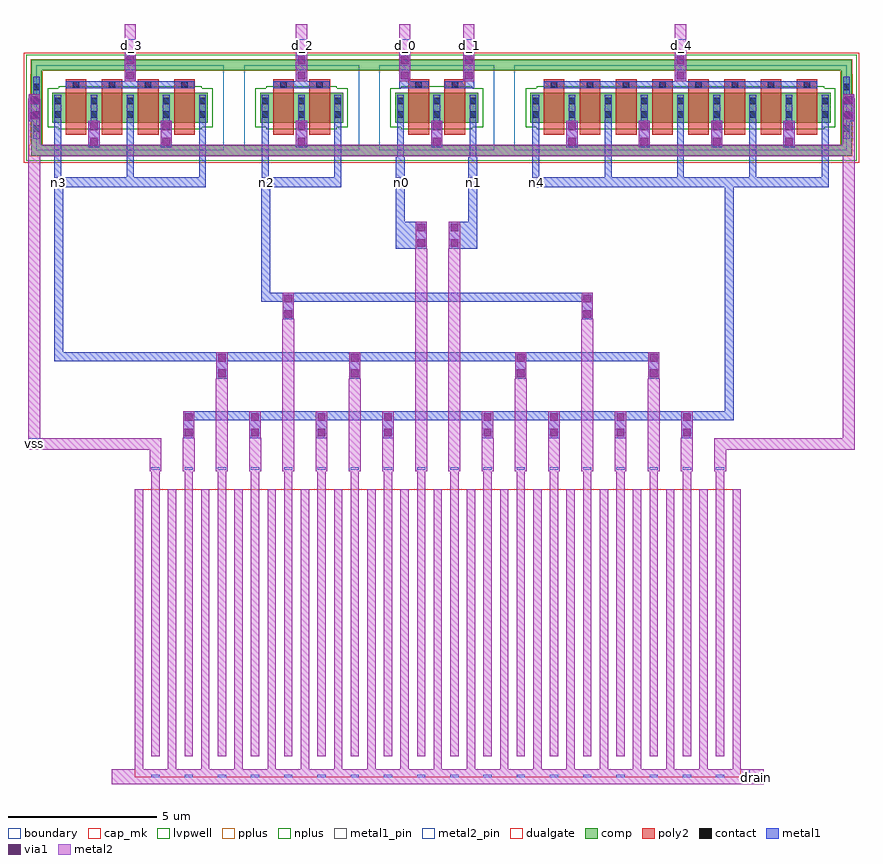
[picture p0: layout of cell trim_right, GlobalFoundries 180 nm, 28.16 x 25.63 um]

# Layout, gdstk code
import gdstk
lib = gdstk.Library(unit=1e-6, precision=1e-09)
def R(c, l, rs):  # rectangles x0, y0, x1, y1
    for r in rs: c.add(gdstk.rectangle(r[:2], r[2:], *l))
def A(c, l, x, y, w, h, nx, ny, dx, dy):  # array of equal rectangles
    R(c, l, [(x+i*dx, y+j*dy, x+i*dx+w, y+j*dy+h) for i in range(nx) for j in range(ny)])
boundary = (0, 0)
comp = (22, 0)
poly2 = (30, 0)
pplus = (31, 0)
nplus = (32, 0)
contact = (33, 0)
metal1 = (34, 0)
metal1_pin = (34, 10)
via1 = (35, 0)
metal2 = (36, 0)
metal2_pin = (36, 10)
dualgate = (55, 0)
cap_mk = (117, 5)
lvpwell = (204, 0)

trim_cap_left = lib.new_cell('trim_cap_left')
R(trim_cap_left, metal2, [(2.1,-0.72,3.5,-0.44), (2.1,-0.44,2.38,9), (2.1,-0.44,2.38,9), (3.22,-0.44,3.5,9), (3.22,-0.44,3.5,9), (2.66,0,2.94,9.75)])
R(trim_cap_left, metal2_pin, [(2.66,-0.72,2.94,-0.62), (2.66,9.65,2.94,9.75)])
R(trim_cap_left, cap_mk, [(2.1,-0.72,3.5,9)])
trim_cap_left.add(gdstk.Label('in', (2.8,9.7), layer=36, texttype=10))
trim_cap_left.add(gdstk.Label('out', (2.8,-0.67), layer=36, texttype=10))

trim_cap_array_right = lib.new_cell('trim_cap_array_right')
trim_cap_array_right.add(gdstk.Reference(trim_cap_left, (0,0)))
trim_cap_array_right.add(gdstk.Reference(trim_cap_left, (1.12,0)))
trim_cap_array_right.add(gdstk.Reference(trim_cap_left, (2.24,0)))
trim_cap_array_right.add(gdstk.Reference(trim_cap_left, (3.36,0)))
trim_cap_array_right.add(gdstk.Reference(trim_cap_left, (4.48,0)))
trim_cap_array_right.add(gdstk.Reference(trim_cap_left, (5.6,0)))
trim_cap_array_right.add(gdstk.Reference(trim_cap_left, (6.72,0)))
trim_cap_array_right.add(gdstk.Reference(trim_cap_left, (7.84,0)))
trim_cap_array_right.add(gdstk.Reference(trim_cap_left, (8.96,0)))
trim_cap_array_right.add(gdstk.Reference(trim_cap_left, (10.08,0)))
trim_cap_array_right.add(gdstk.Reference(trim_cap_left, (11.2,0)))
trim_cap_array_right.add(gdstk.Reference(trim_cap_left, (12.32,0)))
trim_cap_array_right.add(gdstk.Reference(trim_cap_left, (13.44,0)))
trim_cap_array_right.add(gdstk.Reference(trim_cap_left, (14.56,0)))
trim_cap_array_right.add(gdstk.Reference(trim_cap_left, (15.68,0)))
trim_cap_array_right.add(gdstk.Reference(trim_cap_left, (16.8,0)))
trim_cap_array_right.add(gdstk.Reference(trim_cap_left, (17.92,0)))
trim_cap_array_right.add(gdstk.Reference(trim_cap_left, (19.04,0)))

xm1_trims_right = lib.new_cell('XM1_trims_right')
R(xm1_trims_right, boundary, [(-26.33,-1.44,-23.67,1.44)])
R(xm1_trims_right, comp, [(-26.51,-1.62,-23.33,-1.26), (-25.79,-0.5,-24.21,0.5), (-26.51,1.26,-23.33,1.62)])
R(xm1_trims_right, poly2, [(-25.35,-0.915,-24.65,0.96)])
R(xm1_trims_right, pplus, [(-26.53,-1.64,-23.31,-1.24), (-26.53,1.24,-23.31,1.64)])
R(xm1_trims_right, nplus, [(-25.61,-0.73,-24.42,-0.66), (-25.95,-0.66,-24.05,0.66), (-25.61,0.66,-24.42,0.73)])
R(xm1_trims_right, contact, [(-25.72,-0.345,-25.5,-0.125), (-24.5,-0.345,-24.28,-0.125), (-25.72,0.125,-25.5,0.345), (-24.5,0.125,-24.28,0.345), (-25.11,0.67,-24.89,0.89)])
R(xm1_trims_right, metal1, [(-25.725,-0.435,-25.495,0.435), (-24.505,-0.435,-24.275,0.435), (-25.34,0.665,-24.66,0.895)])
R(xm1_trims_right, dualgate, [(-26.75,-1.86,-23.25,1.86)])
R(xm1_trims_right, lvpwell, [(-26.67,-1.78,-23.33,1.78)])
xm1_trims_right.add(gdstk.Label('S', (-25.6,0), layer=34, texttype=0))
xm1_trims_right.add(gdstk.Label('D', (-24.4,0), layer=34, texttype=0))
xm1_trims_right.add(gdstk.Label('G', (-25,0), layer=30, texttype=10))

xm2_trims_right = lib.new_cell('XM2_trims_right')
R(xm2_trims_right, boundary, [(-21.94,-1.44,-18.06,1.44)])
R(xm2_trims_right, comp, [(-22.28,-1.62,-17.72,-1.26), (-21.4,-0.5,-18.6,0.5), (-22.28,1.26,-17.72,1.62)])
R(xm2_trims_right, poly2, [(-20.96,-0.915,-20.26,0.96), (-19.74,-0.915,-19.04,0.96)])
R(xm2_trims_right, pplus, [(-22.3,-1.64,-17.7,-1.24), (-22.3,1.24,-17.7,1.64)])
R(xm2_trims_right, nplus, [(-21.19,-0.73,-18.81,-0.66), (-21.56,-0.66,-18.44,0.66), (-21.19,0.66,-18.81,0.73)])
A(xm2_trims_right, contact, -21.33, -0.345, 0.22, 0.22, 3, 2, 1.22, 0.47)
R(xm2_trims_right, contact, [(-20.72,0.67,-20.5,0.89), (-19.5,0.67,-19.28,0.89)])
A(xm2_trims_right, metal1, -21.335, -0.435, 0.23, 0.87, 3, 1, 1.22, 0)
R(xm2_trims_right, metal1, [(-20.95,0.665,-20.27,0.895), (-19.73,0.665,-19.05,0.895)])
R(xm2_trims_right, dualgate, [(-22.36,-1.86,-17.64,1.86)])
R(xm2_trims_right, lvpwell, [(-22.28,-1.78,-17.72,1.78)])

xm3_trims_right = lib.new_cell('XM3_trims_right')
R(xm3_trims_right, boundary, [(-13.16,-1.44,-6.84,1.44)])
R(xm3_trims_right, comp, [(-13.34,-1.62,-6.5,-1.26), (-13.34,-1.26,-12.98,1.26), (-12.62,-0.5,-7.38,0.5), (-13.34,1.26,-6.5,1.62)])
A(xm3_trims_right, poly2, -12.18, -0.915, 0.7, 1.875, 4, 1, 1.22, 0)
R(xm3_trims_right, pplus, [(-13.415,-1.64,-6.425,-1.24), (-13.36,-1.24,-12.95,-1.135), (-13.37,-1.135,-12.95,1.135), (-13.36,1.135,-12.95,1.24), (-13.36,1.24,-6.48,1.64)])
R(xm3_trims_right, nplus, [(-12.41,-0.73,-7.59,-0.66), (-12.78,-0.66,-7.22,0.66), (-12.41,0.66,-7.59,0.73)])
A(xm3_trims_right, contact, -13.27, -0.815, 0.22, 0.22, 1, 4, 0, 0.47)
A(xm3_trims_right, contact, -12.55, -0.345, 0.22, 0.22, 5, 2, 1.22, 0.47)
A(xm3_trims_right, contact, -11.94, 0.67, 0.22, 0.22, 4, 1, 1.22, 0)
A(xm3_trims_right, metal1, -12.555, -0.435, 0.23, 0.87, 5, 1, 1.22, 0)
A(xm3_trims_right, metal1, -12.17, 0.665, 0.68, 0.23, 4, 1, 1.22, 0)
R(xm3_trims_right, metal1, [(-13.275,-1.04,-13.045,1.04)])
R(xm3_trims_right, dualgate, [(-13.58,-1.86,-6.42,1.86)])
R(xm3_trims_right, lvpwell, [(-13.5,-1.78,-6.5,1.78)])

xm4_trims_right = lib.new_cell('XM4_trims_right')
R(xm4_trims_right, boundary, [(-5.6,-1.44,5.6,1.44)])
R(xm4_trims_right, comp, [(-5.94,-1.62,5.78,-1.26), (5.42,-1.26,5.78,1.26), (-5.06,-0.5,5.06,0.5), (-5.94,1.26,5.78,1.62)])
A(xm4_trims_right, poly2, -4.62, -0.915, 0.7, 1.875, 8, 1, 1.22, 0)
R(xm4_trims_right, pplus, [(-5.96,-1.64,5.8,-1.24), (5.39,-1.24,5.8,-1.135), (5.39,-1.135,5.81,1.135), (5.39,1.135,5.8,1.24), (-5.96,1.24,5.8,1.64)])
R(xm4_trims_right, nplus, [(-4.85,-0.73,4.85,-0.66), (-5.22,-0.66,5.22,0.66), (-4.85,0.66,4.85,0.73)])
A(xm4_trims_right, contact, 5.49, -0.815, 0.22, 0.22, 1, 4, 0, 0.47)
A(xm4_trims_right, contact, -4.99, -0.345, 0.22, 0.22, 9, 2, 1.22, 0.47)
A(xm4_trims_right, contact, -4.38, 0.67, 0.22, 0.22, 8, 1, 1.22, 0)
A(xm4_trims_right, metal1, -4.995, -0.435, 0.23, 0.87, 9, 1, 1.22, 0)
A(xm4_trims_right, metal1, -4.61, 0.665, 0.68, 0.23, 8, 1, 1.22, 0)
R(xm4_trims_right, metal1, [(5.485,-1.04,5.715,1.04)])
R(xm4_trims_right, dualgate, [(-6.02,-1.86,6.02,1.86)])
R(xm4_trims_right, lvpwell, [(-5.94,-1.78,5.94,1.78)])

xm0_trims_right = lib.new_cell('XM0_trims_right')
R(xm0_trims_right, boundary, [(-26.33,-1.44,-23.67,1.44)])
R(xm0_trims_right, comp, [(-26.67,-1.62,-23.49,-1.26), (-25.79,-0.5,-24.21,0.5), (-26.67,1.26,-23.49,1.62)])
R(xm0_trims_right, poly2, [(-25.35,-0.915,-24.65,0.96)])
R(xm0_trims_right, pplus, [(-26.69,-1.64,-23.47,-1.24), (-26.69,1.24,-23.47,1.64)])
R(xm0_trims_right, nplus, [(-25.58,-0.73,-24.39,-0.66), (-25.95,-0.66,-24.05,0.66), (-25.58,0.66,-24.39,0.73)])
R(xm0_trims_right, contact, [(-25.72,-0.345,-25.5,-0.125), (-24.5,-0.345,-24.28,-0.125), (-25.72,0.125,-25.5,0.345), (-24.5,0.125,-24.28,0.345), (-25.11,0.67,-24.89,0.89)])
R(xm0_trims_right, metal1, [(-25.725,-0.435,-25.495,0.435), (-24.505,-0.435,-24.275,0.435), (-25.34,0.665,-24.66,0.895)])
R(xm0_trims_right, dualgate, [(-26.75,-1.86,-23.25,1.86)])
R(xm0_trims_right, lvpwell, [(-26.67,-1.78,-23.33,1.78)])
xm0_trims_right.add(gdstk.Label('S', (-24.4,0), layer=34, texttype=0))
xm0_trims_right.add(gdstk.Label('D', (-25.6,0), layer=34, texttype=0))
xm0_trims_right.add(gdstk.Label('G', (-25,0), layer=30, texttype=10))

trim_switch_right = lib.new_cell('trim_switch_right')
A(trim_switch_right, metal1, -15.23, -5, 0.23, 3.115, 3, 1, 2.44, 0)
A(trim_switch_right, metal1, 0.89, -5, 0.23, 3.115, 5, 1, 2.44, 0)
A(trim_switch_right, metal1, -11.645, -3.655, 0.38, 0.9, 4, 1, 4.56, 0)
A(trim_switch_right, metal1, 4.475, -3.655, 0.38, 0.9, 3, 1, 2.44, 0)
R(trim_switch_right, metal1, [(-15.23,-5,-10.12,-4.67), (-8.23,-5,-5.56,-4.67), (-8.23,-5,-8,-1.885), (-5.79,-5,-5.56,-1.885), (-3.67,-5,-3.44,-1.885), (-1.23,-5,-1,-1.885), (0.89,-5,10.88,-4.67), (-14.085,-3.655,-13.705,-2.755), (-16.1,-2.77,-15.72,-1.87), (11.37,-2.77,11.75,-1.87), (-14.845,-1.655,-10.505,-1.425), (-7.845,-1.655,-5.945,-1.425), (-3.605,-1.655,-2.605,-1.425), (-2.065,-1.655,-1.065,-1.425), (1.275,-1.655,10.495,-1.425), (-12.865,-1.425,-12.485,-0.525), (-7.085,-1.425,-6.705,-0.525), (-3.605,-1.425,-3.225,-0.525), (-1.445,-1.425,-1.065,-0.525), (5.695,-1.425,6.075,-0.525)])
R(trim_switch_right, metal1_pin, [(-15.23,-5,-15,-4.67), (-8.23,-5,-8,-4.67), (-3.67,-5,-3.44,-4.67), (-1.23,-5,-1,-4.67), (0.89,-5,1.12,-4.67)])
A(trim_switch_right, via1, -11.585, -3.595, 0.26, 0.26, 4, 2, 4.56, 0.52)
A(trim_switch_right, via1, 4.535, -3.595, 0.26, 0.26, 3, 2, 2.44, 0.52)
R(trim_switch_right, via1, [(-14.025,-3.595,-13.765,-3.335), (-14.025,-3.075,-13.765,-2.815), (-16.04,-2.71,-15.78,-2.45), (11.43,-2.71,11.69,-2.45), (-16.04,-2.19,-15.78,-1.93), (11.43,-2.19,11.69,-1.93), (-12.805,-1.365,-12.545,-1.105), (-7.025,-1.365,-6.765,-1.105), (-3.545,-1.365,-3.285,-1.105), (-1.385,-1.365,-1.125,-1.105), (5.755,-1.365,6.015,-1.105), (-12.805,-0.845,-12.545,-0.585), (-7.025,-0.845,-6.765,-0.585), (-3.545,-0.845,-3.285,-0.585), (-1.385,-0.845,-1.125,-0.585), (5.755,-0.845,6.015,-0.585)])
A(trim_switch_right, metal2, -11.645, -3.655, 0.38, 0.9, 4, 1, 4.56, 0)
A(trim_switch_right, metal2, 4.475, -3.655, 0.38, 0.9, 3, 1, 2.44, 0)
R(trim_switch_right, metal2, [(-16.1,-5,-15.72,-1.87), (11.37,-5,11.75,-1.87), (-16.1,-3.96,-15.72,-1.87), (-16.1,-3.96,11.75,-3.56), (11.37,-3.96,11.75,-1.87), (-14.085,-3.655,-13.705,-2.755), (-16.1,-2.77,-15.72,-1.87), (11.37,-2.77,11.75,-1.87), (-12.865,-1.425,-12.485,0.505), (-12.865,-1.425,-12.485,-0.525), (-7.085,-1.425,-6.705,0.505), (-7.085,-1.425,-6.705,-0.525), (-3.605,-1.425,-3.225,0.505), (-3.605,-1.425,-3.225,-0.525), (-1.445,-1.425,-1.065,0.505), (-1.445,-1.425,-1.065,-0.525), (5.695,-1.425,6.075,0.505), (5.695,-1.425,6.075,-0.525)])
R(trim_switch_right, metal2_pin, [(-12.865,-0.505,-12.485,-0.005), (-7.085,-0.505,-6.705,-0.005), (-3.605,-0.505,-3.225,-0.005), (-1.445,-0.505,-1.065,-0.005), (5.695,-0.505,6.075,-0.005)])
trim_switch_right.add(gdstk.Reference(xm1_trims_right, (23.275,-2.32)))
trim_switch_right.add(gdstk.Reference(xm2_trims_right, (13.105,-2.32)))
trim_switch_right.add(gdstk.Reference(xm3_trims_right, (-2.675,-2.32)))
trim_switch_right.add(gdstk.Reference(xm4_trims_right, (5.885,-2.32)))
trim_switch_right.add(gdstk.Reference(xm0_trims_right, (22.055,-2.32)))
trim_switch_right.add(gdstk.Label('d_0', (-3.38,-0.205), layer=36, texttype=10))
trim_switch_right.add(gdstk.Label('d_4', (5.92,-0.205), layer=36, texttype=10))
trim_switch_right.add(gdstk.Label('d_1', (-1.22,-0.205), layer=36, texttype=10))
trim_switch_right.add(gdstk.Label('d_2', (-6.86,-0.205), layer=36, texttype=10))
trim_switch_right.add(gdstk.Label('d_3', (-12.64,-0.205), layer=36, texttype=10))
trim_switch_right.add(gdstk.Label('n1', (-1.08,-4.84), layer=34, texttype=10))
trim_switch_right.add(gdstk.Label('n4', (1.04,-4.84), layer=34, texttype=10))
trim_switch_right.add(gdstk.Label('n0', (-3.52,-4.84), layer=34, texttype=10))
trim_switch_right.add(gdstk.Label('n2', (-8.08,-4.84), layer=34, texttype=10))
trim_switch_right.add(gdstk.Label('n3', (-15.08,-4.84), layer=34, texttype=10))

trim_right = lib.new_cell('trim_right')
A(trim_right, metal1, -8.59, 6.21, 0.38, 0.9, 4, 1, 2.24, 0)
A(trim_right, metal1, -8.59, 6.21, 0.23, 0.87, 4, 1, 2.24, 0)
A(trim_right, metal1, 1.49, 6.21, 0.38, 0.9, 4, 1, 2.24, 0)
A(trim_right, metal1, 1.64, 6.21, 0.23, 0.87, 4, 1, 2.24, 0)
R(trim_right, metal1, [(-8.59,6.81,8.59,7.11), (8.59,6.81,9.98,7.11), (9.68,6.81,9.98,14.67), (-7.47,8.21,-7.09,9.11), (-7.47,8.21,-7.09,9.11), (-7.47,8.21,-7.24,9.08), (-7.47,8.21,-7.24,9.08), (-2.99,8.21,-2.61,9.11), (-2.99,8.21,-2.76,9.08), (2.61,8.21,2.99,9.11), (2.76,8.21,2.99,9.08), (7.09,8.21,7.47,9.11), (7.09,8.21,7.47,9.11), (7.24,8.21,7.47,9.08), (7.24,8.21,7.47,9.08), (-12.93,8.81,-12.63,14.67), (-12.75,8.81,-6,9.11), (-7.47,8.81,7.47,9.11), (-5.23,10.21,-4.85,11.11), (-5.23,10.21,-5,11.08), (4.85,10.21,5.23,11.11), (5,10.21,5.23,11.08), (-5.95,10.81,-4.85,11.11), (-5.95,10.81,-5.65,14.67), (-5.23,10.81,5.23,11.11), (-1.41,12.6,-1.11,15.675), (-1.41,12.6,-0.37,13.5), (-0.75,12.6,-0.37,13.5), (-0.75,12.6,-0.52,13.47), (0.37,12.6,0.75,13.5), (0.37,12.6,1.335,13.5), (0.52,12.6,0.75,13.47), (1.035,12.6,1.335,15.675)])
R(trim_right, metal1_pin, [(-12.93,14.67,-12.7,15), (-5.93,14.67,-5.7,15), (-1.37,14.67,-1.14,15), (1.07,14.67,1.3,15), (3.19,14.67,3.42,15)])
A(trim_right, via1, -8.53, 6.27, 0.26, 0.26, 4, 2, 2.24, 0.52)
A(trim_right, via1, 1.55, 6.27, 0.26, 0.26, 4, 2, 2.24, 0.52)
R(trim_right, via1, [(-7.41,8.27,-7.15,8.53), (-7.41,8.27,-7.15,8.53), (-2.93,8.27,-2.67,8.53), (2.67,8.27,2.93,8.53), (7.15,8.27,7.41,8.53), (7.15,8.27,7.41,8.53), (-7.41,8.79,-7.15,9.05), (-7.41,8.79,-7.15,9.05), (-2.93,8.79,-2.67,9.05), (2.67,8.79,2.93,9.05), (7.15,8.79,7.41,9.05), (7.15,8.79,7.41,9.05), (-5.17,10.27,-4.91,10.53), (4.91,10.27,5.17,10.53), (-5.17,10.79,-4.91,11.05), (4.91,10.79,5.17,11.05), (-0.69,12.66,-0.43,12.92), (0.43,12.66,0.69,12.92), (-0.69,13.18,-0.43,13.44), (0.43,13.18,0.69,13.44)])
A(trim_right, metal2, -8.6, 5.1, 0.4, 1.11, 4, 1, 2.24, 0)
A(trim_right, metal2, 1.48, 5.1, 0.4, 1.11, 4, 1, 2.24, 0)
A(trim_right, metal2, -8.59, 6.21, 0.38, 0.9, 4, 1, 2.24, 0)
A(trim_right, metal2, 1.49, 6.21, 0.38, 0.9, 4, 1, 2.24, 0)
R(trim_right, metal2, [(-11,-5.455,11,-4.955), (-9.72,5.1,-9.32,6.21), (-7.48,5.1,-7.08,8.21), (-5.24,5.1,-4.84,10.21), (-3,5.1,-2.6,8.21), (-0.76,5.1,-0.36,12.6), (0.36,5.1,0.76,12.6), (2.6,5.1,3,8.21), (4.84,5.1,5.24,10.21), (7.08,5.1,7.48,8.21), (9.32,5.1,9.72,6.21), (-13.805,5.81,-9.32,6.21), (-13.805,5.81,-13.415,17.665), (9.32,5.81,14.055,6.21), (13.665,5.81,14.055,17.665), (-7.47,8.21,-7.09,9.11), (-7.47,8.21,-7.09,9.11), (-2.99,8.21,-2.61,9.11), (2.61,8.21,2.99,9.11), (7.09,8.21,7.47,9.11), (7.09,8.21,7.47,9.11), (-5.23,10.21,-4.85,11.11), (4.85,10.21,5.23,11.11), (-0.75,12.6,-0.37,13.5), (0.37,12.6,0.75,13.5)])
R(trim_right, metal2_pin, [(10.5,-5.455,11,-4.955), (-13.805,5.81,-13.415,6.21), (-10.565,19.165,-10.185,19.665), (-4.785,19.165,-4.405,19.665), (-1.305,19.165,-0.925,19.665), (0.855,19.165,1.235,19.665), (7.995,19.165,8.375,19.665)])
trim_right.add(gdstk.Reference(trim_cap_array_right, (-12.32,-4.515)))
trim_right.add(gdstk.Reference(trim_switch_right, (2.3,19.67)))
trim_right.add(gdstk.Label('d_0', (-1.08,19.465), layer=36, texttype=10))
trim_right.add(gdstk.Label('d_4', (8.22,19.465), layer=36, texttype=10))
trim_right.add(gdstk.Label('d_1', (1.08,19.465), layer=36, texttype=10))
trim_right.add(gdstk.Label('d_2', (-4.56,19.465), layer=36, texttype=10))
trim_right.add(gdstk.Label('d_3', (-10.34,19.465), layer=36, texttype=10))
trim_right.add(gdstk.Label('vss', (-13.615,6.025), layer=36, texttype=10))
trim_right.add(gdstk.Label('drain', (10.75,-5.25), layer=36, texttype=10))
trim_right.add(gdstk.Label('n1', (1.22,14.83), layer=34, texttype=10))
trim_right.add(gdstk.Label('n4', (3.34,14.83), layer=34, texttype=10))
trim_right.add(gdstk.Label('n0', (-1.22,14.83), layer=34, texttype=10))
trim_right.add(gdstk.Label('n2', (-5.78,14.83), layer=34, texttype=10))
trim_right.add(gdstk.Label('n3', (-12.78,14.83), layer=34, texttype=10))

lib.write_gds('trim_right.gds')
